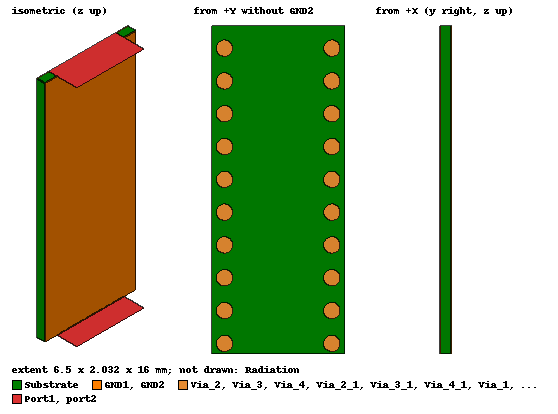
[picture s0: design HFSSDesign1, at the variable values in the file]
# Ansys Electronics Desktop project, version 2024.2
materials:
  vacuum: permittivity=1
  Rogers RO3003 (tm): permittivity=3 dielectric_loss_tangent=0.0013
  Rogers RT/duroid 5880 (tm): permittivity=2.2 dielectric_loss_tangent=0.0009
  copper: permeability=0.999991 conductivity=58000000

design HFSSDesign1 (HFSS, HFSS Modal Network, model units mm)
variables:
  sa = 6.5mm
  L = 16mm
  sb = 0.508mm
  th = 0.05mm
  position = 5.237mm
  portsize = 4.795mm
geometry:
  Substrate [Rogers RT/duroid 5880 (tm)] = box(corner=(-sa/2, -sb/2, 0mm), size=(sa, sb, L))
  GND1 [copper] = box(corner=(-sa/2, -sb/2 - th, 0mm), size=(sa, th, L))
  GND2 [copper] = box(corner=(-sa/2, sb/2, 0mm), size=(sa, th, L))
  Via [copper] = cylinder(axis=Y, base_centre=(-position/2, -sb/2, 0.5mm), radius=0.4mm, height=sb)
  Via_1..Via_9 [copper] = Via.duplicate_along_line(step=(0mm, 0mm, 1.6mm), total=10)
  Via_10 [copper] = Via.duplicate_mirror(point=(0mm, 0mm, 0mm), normal=(1mm, 0mm, 0mm))
  Via_1_1 [copper] = Via_1.duplicate_mirror(point=(0mm, 0mm, 0mm), normal=(1mm, 0mm, 0mm))
  Via_2_1 [copper] = Via_2.duplicate_mirror(point=(0mm, 0mm, 0mm), normal=(1mm, 0mm, 0mm))
  Via_3_1 [copper] = Via_3.duplicate_mirror(point=(0mm, 0mm, 0mm), normal=(1mm, 0mm, 0mm))
  Via_4_1 [copper] = Via_4.duplicate_mirror(point=(0mm, 0mm, 0mm), normal=(1mm, 0mm, 0mm))
  Via_5_1 [copper] = Via_5.duplicate_mirror(point=(0mm, 0mm, 0mm), normal=(1mm, 0mm, 0mm))
  Via_6_1 [copper] = Via_6.duplicate_mirror(point=(0mm, 0mm, 0mm), normal=(1mm, 0mm, 0mm))
  Via_7_1 [copper] = Via_7.duplicate_mirror(point=(0mm, 0mm, 0mm), normal=(1mm, 0mm, 0mm))
  Via_8_1 [copper] = Via_8.duplicate_mirror(point=(0mm, 0mm, 0mm), normal=(1mm, 0mm, 0mm))
  Via_9_1 [copper] = Via_9.duplicate_mirror(point=(0mm, 0mm, 0mm), normal=(1mm, 0mm, 0mm))
  Radiation [vacuum] = box(corner=(-sa/2 - 5mm, -sb/2 -5mm, 0mm), size=(sa +10mm, sb +10mm, L))
  Port1 = rectangle(corner=(-portsize/2, -sb/2 -0.05mm, 0mm), x_size=portsize, y_size=sb*4)
  port2 = rectangle(corner=(-portsize/2, -sb/2 -0.05mm, 16mm), x_size=portsize, y_size=sb*4)
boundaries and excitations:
  Rad1: Radiation Objects=Radiation
  1: Wave Port Objects=Port1 WavePortType=Modal NumModes=3 Modes{Mode1{IntLine{(0, -0.304, 0) -> (0, 1.728, 0)} CharImp=Zpi} Mode2{CharImp=Zpi} Mode3{CharImp=Zpi}}
  2: Wave Port Objects=port2 WavePortType=Modal NumModes=3 Modes{Mode1{IntLine{(0, -0.304, 16) -> (0, 1.728, 16)} CharImp=Zpi} Mode2{CharImp=Zpi} Mode3{CharImp=Zpi}}
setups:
  Setup1: HfssDriven Frequency=40GHz MaxDeltaS=0.02 MaximumPasses=12 MinimumPasses=1 MinimumConvergedPasses=1 PercentRefinement=30 BasisOrder=1 PortAccuracy=2 DrivenSolverType="Direct Solver"
    sweep Sweep: 18GHz to 100GHz step 0.5GHz; Type=Fast SaveFields
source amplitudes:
  1:1: 1W 0deg
  1:2, 1:3, 2:1, 2:2, 2:3: 0W 0deg
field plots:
  Mag_E1: E Field in Substrate on Setup1 : Sweep at Freq=33GHz Phase=0deg
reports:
  Gamma Plot 1: im(Gamma(1:1)), im(Gamma(1:2)), im(Gamma(1:3)) vs Freq on Setup1 : Sweep [portsize=all]; markers m1 at 42GHz, m2 at 21GHz
  Gamma Plot 2: im(Gamma(1)), im(Gamma(2)) vs Freq on Setup1 : Sweep
  S Parameter Plot 1: dB(S(1:1,2:1)), dB(S(1:1,1:1)) vs Freq on Setup1 : Sweep
